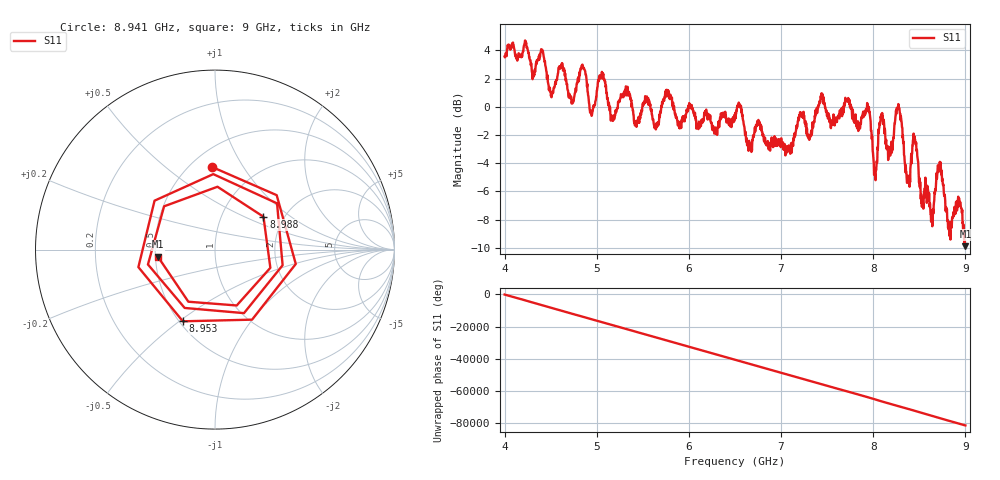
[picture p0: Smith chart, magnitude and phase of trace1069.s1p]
! Created with skrf 1.8.0 (http://scikit-rf.org).
# Hz S RI R 50.0
!freq ReS11 ImS11
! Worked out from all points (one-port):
!   1601 points, 4 GHz to 9 GHz, reference 50 ohm
!   lowest |S11| = -9.9 dB at 9 GHz (marker M1), VSWR 1.94, Z = 25.8 - j2.27 ohm
!   |S11| at or under -10 dB: nowhere
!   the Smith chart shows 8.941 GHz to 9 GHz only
!   S11 on the Smith chart (normalised r, x): 8.941 GHz: 0.63, +0.74; 8.953 GHz: 0.52, -0.52; 8.988 GHz: 1.58, +0.65; 9 GHz: 0.52, -0.05
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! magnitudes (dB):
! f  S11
! 4 GHz  3.6
! 4.406 GHz  4.0
! 4.506 GHz  0.9
! 4.625 GHz  3.1
! 4.731 GHz  0.4
! 4.856 GHz  2.7
! 4.944 GHz  -0.6
! 5.05 GHz  2.1
! 5.172 GHz  -0.7
! 5.25 GHz  0.5
! 5.875 GHz  -1.0
! 6.5 GHz  -0.9
! 7.125 GHz  -2.5
! 7.75 GHz  0.1
! 7.947 GHz  0.0
! 8.019 GHz  -4.9
! 8.081 GHz  -0.7
! 8.178 GHz  -3.2
! 8.278 GHz  -0.1
! 8.375 GHz  -5.0
! 8.45 GHz  -2.4
! 8.634 GHz  -7.4
! 8.719 GHz  -4.4
! 8.828 GHz  -9.2
! 8.941 GHz  -6.7
! 8.953 GHz  -7.2
! 8.988 GHz  -9.7
! 9 GHz  -9.9
